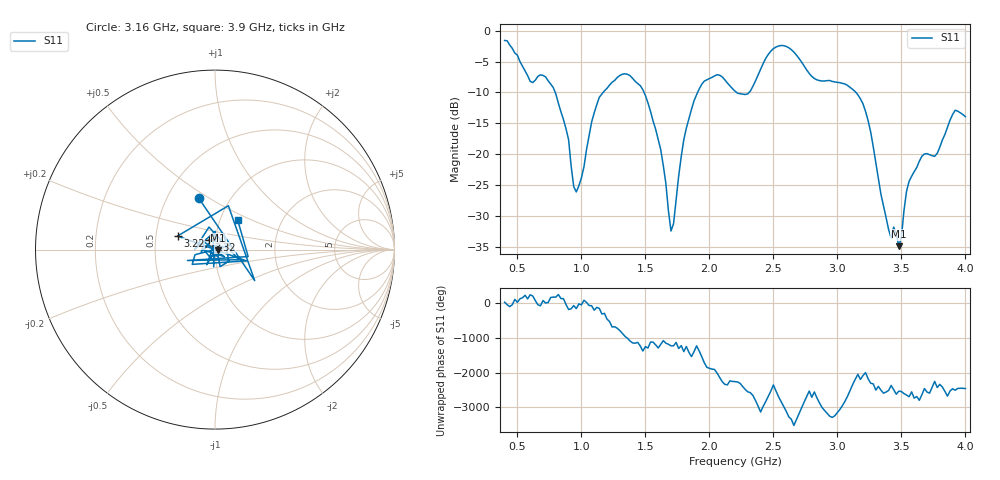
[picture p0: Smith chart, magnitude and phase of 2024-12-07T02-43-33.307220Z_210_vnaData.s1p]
!Created with skrf (http://scikit-rf.org).
# Hz S RI R 50.0
!freq ReS11 ImS11
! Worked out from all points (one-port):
!   181 points, 400 MHz to 4 GHz, reference 50 ohm
!   lowest |S11| = -34.9 dB at 3.48 GHz (marker M1), VSWR 1.04, Z = 51.8 - j0.465 ohm
!   |S11| at or under -10 dB: 795.4 MHz to 1.17 GHz (374.4 MHz wide, 38.1 % of centre); 1.49 GHz to 1.908 GHz (418.2 MHz wide, 24.6 % of centre); 3.145 GHz to end of sweep (the widest 3 of 4)
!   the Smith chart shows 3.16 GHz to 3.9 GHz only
!   S11 on the Smith chart (normalised r, x): 3.16 GHz: 0.71, +0.45; 3.22 GHz: 0.65, +0.10; 3.32 GHz: 0.93, +0.10; 3.9 GHz: 1.21, +0.42
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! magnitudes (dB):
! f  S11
! 400 MHz  -1.6
! 600 MHz  -8.2
! 720 MHz  -7.5
! 860 MHz  -14.4
! 960 MHz  -26.1
! 1.14 GHz  -10.8
! 1.3 GHz  -7.3
! 1.52 GHz  -11.7
! 1.62 GHz  -19.3
! 1.7 GHz  -32.5
! 1.76 GHz  -23.5
! 1.82 GHz  -15.8
! 1.94 GHz  -8.7
! 2.2 GHz  -9.8
! 2.32 GHz  -9.8
! 2.5 GHz  -2.9
! 2.66 GHz  -3.5
! 3.1 GHz  -9.2
! 3.16 GHz  -10.4
! 3.22 GHz  -13.1
! 3.32 GHz  -23.9
! 3.42 GHz  -33.6
! 3.44 GHz  -31.8
! 3.48 GHz  -34.9
! 3.56 GHz  -24.4
! 3.78 GHz  -19.9
! 3.9 GHz  -13.6
! 4 GHz  -13.9
